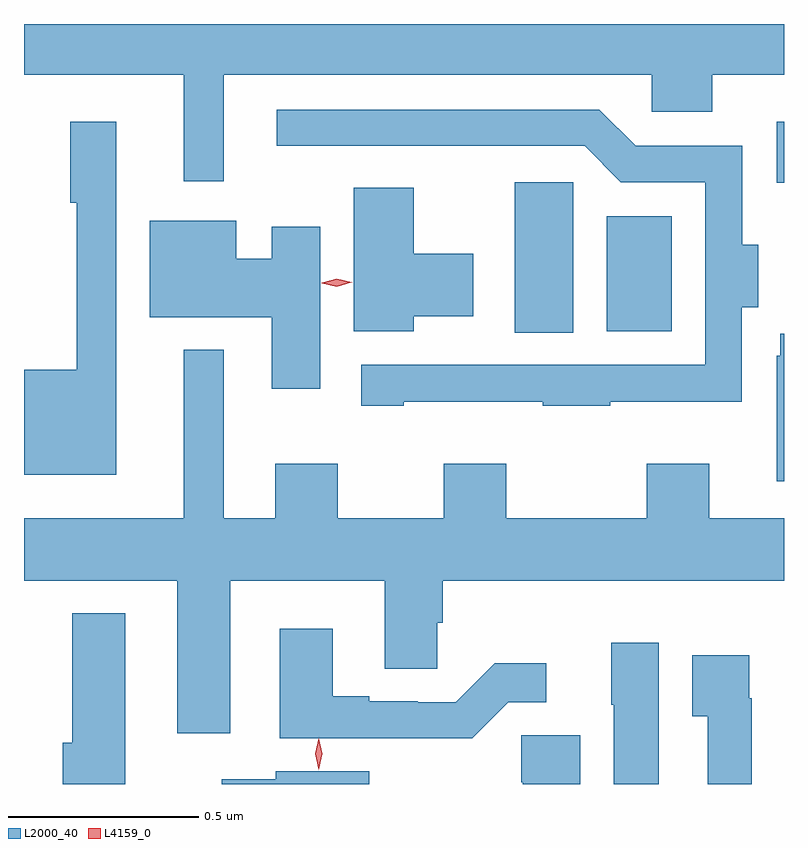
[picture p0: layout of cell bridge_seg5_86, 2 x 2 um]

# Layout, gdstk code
import gdstk
lib = gdstk.Library(unit=1e-6, precision=1e-09)
def R(c, l, rs):  # rectangles x0, y0, x1, y1
    for r in rs: c.add(gdstk.rectangle(r[:2], r[2:], *l))
def P(c, l, *ps):  # polygons
    for p in ps: c.add(gdstk.Polygon(p, *l))
L2000_40 = (2000, 40)
L4159_0 = (4159, 0)

bridge_seg5_86 = lib.new_cell('bridge_seg5_86')
R(bridge_seg5_86, L2000_40, [(187.973,909.361,188.128,909.756), (188.216,909.365,188.386,909.667), (188.663,909.755,188.682,909.916)])
P(bridge_seg5_86, L2000_40, [(187.207,910.04),(188.334,910.04),(188.334,909.942),(188.493,909.942),(188.493,910.04),(188.682,910.04),(188.682,910.173),(186.682,910.173),(186.682,910.04),(187.103,910.04),(187.103,909.759),(187.207,909.759)],
  [(187.681,909.179),(188.047,909.179),(188.047,909.168),(188.225,909.168),(188.225,909.179),(188.571,909.179),(188.571,909.428),(188.614,909.428),(188.614,909.592),(188.572,909.592),(188.572,909.852),(188.292,909.852),(188.196,909.948),(187.347,909.948),(187.347,909.852),(188.157,909.852),(188.253,909.756),(188.475,909.756),(188.475,909.276),(187.569,909.276),(187.569,909.168),(187.681,909.168)],
  [(186.925,909.916),(186.804,909.916),(186.804,909.703),(186.821,909.703),(186.821,909.263),(186.682,909.263),(186.682,908.987),(186.925,908.987)],
  [(187.708,909.404),(187.864,909.404),(187.864,909.568),(187.708,909.568),(187.708,909.742),(187.55,909.742),(187.55,909.365),(187.708,909.365)],
  [(187.462,909.64),(187.334,909.64),(187.334,909.555),(187.24,909.555),(187.24,909.655),(187.013,909.655),(187.013,909.401),(187.334,909.401),(187.334,909.213),(187.462,909.213)],
  [(188.682,909.358),(188.672,909.358),(188.672,909.3),(188.663,909.3),(188.663,908.97),(188.682,908.97)],
  [(187.225,908.708),(187.631,908.708),(187.631,908.476),(187.77,908.476),(187.77,908.598),(187.784,908.598),(187.784,908.708),(188.682,908.708),(188.682,908.872),(188.485,908.872),(188.485,909.016),(188.321,909.016),(188.321,908.872),(187.951,908.872),(187.951,909.016),(187.787,909.016),(187.787,908.872),(187.507,908.872),(187.507,909.016),(187.343,909.016),(187.343,908.872),(187.207,908.872),(187.207,909.316),(187.103,909.316),(187.103,908.872),(186.682,908.872),(186.682,908.708),(187.085,908.708),(187.085,908.307),(187.225,908.307)],
  [(186.949,908.623),(186.809,908.623),(186.809,908.281),(186.784,908.281),(186.784,908.173),(186.949,908.173)],
  [(187.956,908.388),(188.056,908.388),(188.056,908.491),(187.921,908.491),(187.818,908.388),(187.718,908.388),(187.718,908.391),(187.591,908.391),(187.591,908.404),(187.495,908.404),(187.495,908.581),(187.355,908.581),(187.355,908.294),(187.861,908.294)],
  [(188.353,908.545),(188.228,908.545),(188.228,908.382),(188.234,908.382),(188.234,908.173),(188.353,908.173)],
  [(188.597,908.399),(188.59,908.399),(188.59,908.512),(188.441,908.512),(188.441,908.351),(188.481,908.351),(188.481,908.173),(188.597,908.173)],
  [(188.146,908.301),(187.99,908.301),(187.99,908.178),(187.994,908.178),(187.994,908.173),(188.146,908.173)],
  [(187.591,908.206),(187.344,908.206),(187.344,908.185),(187.203,908.185),(187.203,908.173),(187.591,908.173)])
P(bridge_seg5_86, L4159_0, [(187.505,909.482),(187.465,909.491),(187.465,909.491),(187.465,909.492),(187.505,909.502),(187.545,909.493),(187.546,909.493),(187.545,909.493)],
  [(187.458,908.21),(187.457,908.211),(187.448,908.252),(187.457,908.293),(187.458,908.293),(187.458,908.293),(187.467,908.252),(187.458,908.211)])

lib.write_gds('bridge_seg5_86.gds')
